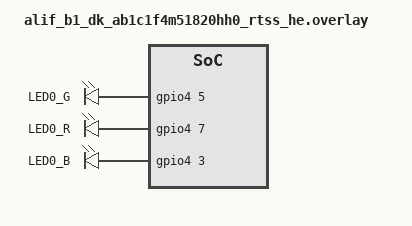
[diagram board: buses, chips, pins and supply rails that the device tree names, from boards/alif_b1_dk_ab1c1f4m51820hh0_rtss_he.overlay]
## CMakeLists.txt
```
# Copyright (C) 2024 Alif Semiconductor - All Rights Reserved.
# Use, distribution and modification of this code is permitted under the
# terms stated in the Alif Semiconductor Software License Agreement
#
# You should have received a copy of the Alif Semiconductor Software
# License Agreement with this file. If not, please write to:
# contact@alifsemi.com, or visit: https://alifsemi.com/license

cmake_minimum_required(VERSION 3.20.0)

# Include BLE Power Management snippet by default. Build with
# -DPLAIN_BLINKY=1 to skip this and use the board's normal LED/button GPIOs.
if(NOT PLAIN_BLINKY AND NOT pm-ble IN_LIST SNIPPET)
  set(SNIPPET pm-ble ${SNIPPET} CACHE STRING "" FORCE)
  set(EXTRA_DTC_OVERLAY_FILE ${CMAKE_CURRENT_SOURCE_DIR}/boards/lpgpio.overlay)
  # DK boards have LEDs on gpio4; restore aliases after lpgpio.overlay remaps them
  if(BOARD MATCHES "alif_b1_dk")
    list(APPEND EXTRA_DTC_OVERLAY_FILE
         ${CMAKE_CURRENT_SOURCE_DIR}/boards/alif_b1_dk_leds.overlay)
  endif()
endif()

find_package(Zephyr REQUIRED HINTS $ENV{ZEPHYR_BASE})
project(le_periph_blinky)

target_sources(app PRIVATE
	src/main.c
)

target_sources_ifdef(CONFIG_CERT_BOOT_INFO app PRIVATE src/cert_boot.c)
```

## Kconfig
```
source "Kconfig.zephyr"

config CERT_BOOT_INFO
	bool "Print certification info at boot"
	help
	  Print board certification IDs during boot using printk.

if CERT_BOOT_INFO

config CERT_MANUFACTURER_NAME
	string "Manufacturer name"
	default ""
	
config CERT_ORIGIN_NAME
	string "Origin name"
	default ""
	
config CERT_BRAND_NAME
	string "Brand name"
	default ""

config CERT_MODEL_NAME
	string "Model name"
	default ""

config CERT_FCC_ID
	string "FCC certification ID"
	default ""

config CERT_ISED_ID
	string "ISED certification ID"
	default ""

config CERT_NCC_ID
	string "NCC certification ID"
	default ""

config CERT_MIC_ID
	string "MIC certification ID"
	default ""
	
config CERT_KC_ID
	string "KC certification ID"
	default ""

endif # CERT_BOOT_INFO
```

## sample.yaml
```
sample:
  name: LE Periph Blinky
tests:
  sample.bt_custom.le_periph_blinky:
    build_only: true
    tags:
      - bluetooth
      - bt_custom
```

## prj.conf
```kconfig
CONFIG_BT=y
CONFIG_BT_CUSTOM=y
CONFIG_LOG=y
CONFIG_ASSERT=y
CONFIG_GPIO=y

# Bluetooth Low Energy device name
CONFIG_BLE_DEVICE_NAME="ALIF_BLK"
```

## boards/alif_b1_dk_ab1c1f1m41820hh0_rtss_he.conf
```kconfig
CONFIG_CERT_BOOT_INFO=y
CONFIG_CERT_BRAND_NAME="Balletto DevKit"
CONFIG_CERT_MODEL_NAME="DK-B1"
CONFIG_CERT_FCC_ID="2A58G-DKB1"
CONFIG_CERT_ISED_ID="35789-DKB1"
CONFIG_CERT_NCC_ID="CCAM26LP1230T0"
CONFIG_CERT_MIC_ID="R 201-260499"
CONFIG_PM_DEVICE_LOG_LEVEL_OFF=y
```

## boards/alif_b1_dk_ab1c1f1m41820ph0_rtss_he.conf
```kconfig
CONFIG_CERT_BOOT_INFO=y
CONFIG_CERT_BRAND_NAME="Balletto DevKit"
CONFIG_CERT_MODEL_NAME="DK-B1"
CONFIG_CERT_FCC_ID="2A58G-DKB1"
CONFIG_CERT_ISED_ID="35789-DKB1"
CONFIG_PM_DEVICE_LOG_LEVEL_OFF=y
```

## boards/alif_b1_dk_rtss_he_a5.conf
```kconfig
CONFIG_PM=y
CONFIG_PM_DEVICE=y
CONFIG_COUNTER=y
CONFIG_COUNTER_RTC_SNPS_DW=y
CONFIG_COUNTER_SNPS_DW=n
CONFIG_DMA_LOG_LEVEL_ERR=y
CONFIG_LOG=n
CONFIG_SLEEP_ENABLED=y

CONFIG_CORTEX_M_SYSTICK_IDLE_TIMER=y

CONFIG_SYS_CLOCK_TICKS_PER_SEC=1000
CONFIG_CONSOLE=n
CONFIG_STDOUT_CONSOLE=n
CONFIG_POWEROFF=y
CONFIG_BOOT_BANNER=n

CONFIG_ALIF_EXT_WAKEUP_TIME=3000
CONFIG_ALIF_OSC_WAKEUP_TIME=3000
CONFIG_ALIF_RM_WAKEUP_TIME=625
CONFIG_ALIF_EXT_WARMBOOT_WAKEUP_TIME=3000
CONFIG_SE_SERVICE_INIT_PRIORITY=1
CONFIG_KERNEL_INIT_PRIORITY_DEFAULT=0
CONFIG_GPIO_INIT_PRIORITY=40

CONFIG_ALIF_MAX_SLEEP_CLOCK_DRIFT=252
CONFIG_ALIF_MAX_ACTIVE_CLOCK_DRIFT=252
```

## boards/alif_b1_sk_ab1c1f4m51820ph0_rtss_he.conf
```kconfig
CONFIG_CERT_BOOT_INFO=y
CONFIG_CERT_MANUFACTURER_NAME="Alif Semiconductor,Inc."
CONFIG_CERT_ORIGIN_NAME="Malaysia"
CONFIG_CERT_BRAND_NAME="Balletto StartKit"
CONFIG_CERT_MODEL_NAME="SK-B1"
CONFIG_CERT_FCC_ID="2A58G-SKB1"
CONFIG_CERT_ISED_ID="35789-SKB1"
CONFIG_CERT_NCC_ID="xxxxxxxx"
CONFIG_CERT_MIC_ID="211-260904"
CONFIG_CERT_KC_ID="R-R-ndu-xxxxxxxxx"
CONFIG_PM_DEVICE_LOG_LEVEL_OFF=y
```

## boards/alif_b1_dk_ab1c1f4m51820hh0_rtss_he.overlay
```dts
/* Copyright (C) 2024 Alif Semiconductor - All Rights Reserved.
 * Use, distribution and modification of this code is permitted under the
 * terms stated in the Alif Semiconductor Software License Agreement
 *
 * You should have received a copy of the Alif Semiconductor Software
 * License Agreement with this file. If not, please write to:
 * contact@alifsemi.com, or visit: https://alifsemi.com/license
 */



&{/} {
	aliases {
		led0 = &aled0;
		led1 = &aled1;
		led2 = &aled2;
		sw0 = &button0;
	};
	leds {
		compatible = "gpio-leds";
		aled0: led_0 {
			gpios = <&gpio4 5 0>;
			label = "LED0_G";
		};

		aled1: led_1 {
			gpios = <&gpio4 7 0>;
			label = "LED0_R";
		};

		aled2: led_2 {
			gpios = <&gpio4 3 0>;
			label = "LED0_B";
		};
	};


};

/* for "buttons" node gpio5_7, enable software pull-up */
&pinctrl_gpio5 {
	group0 {
		pinmux = < PIN_P5_0__GPIO >,
			 < PIN_P5_1__GPIO >,
			 < PIN_P5_2__GPIO >,
			 < PIN_P5_3__GPIO >,
			 < PIN_P5_4__GPIO >,
			 < PIN_P5_5__GPIO >,
			 < PIN_P5_6__GPIO >,
			 < PIN_P5_7__GPIO >;
		read-enable = < 0x1 >;
	};

	group1 {
		pinmux = < PIN_P5_7__GPIO >;
		driver-state-control = <1>;
	};
};
```

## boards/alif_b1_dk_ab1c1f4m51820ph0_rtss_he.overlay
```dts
/* Copyright (C) 2024 Alif Semiconductor - All Rights Reserved.
 * Use, distribution and modification of this code is permitted under the
 * terms stated in the Alif Semiconductor Software License Agreement
 *
 * You should have received a copy of the Alif Semiconductor Software
 * License Agreement with this file. If not, please write to:
 * contact@alifsemi.com, or visit: https://alifsemi.com/license
 */



&{/} {
	aliases {
		led0 = &aled0;
		led1 = &aled1;
		led2 = &aled2;
		sw0 = &button0;
	};
	leds {
		compatible = "gpio-leds";
		aled0: led_0 {
			gpios = <&gpio4 5 0>;
			label = "LED0_G";
		};

		aled1: led_1 {
			gpios = <&gpio4 7 0>;
			label = "LED0_R";
		};

		aled2: led_2 {
			gpios = <&gpio4 3 0>;
			label = "LED0_B";
		};
	};
};

/* for "buttons" node gpio5_7, enable software pull-up */
&pinctrl_gpio5 {
	group0 {
		pinmux = < PIN_P5_0__GPIO >,
			 < PIN_P5_1__GPIO >,
			 < PIN_P5_2__GPIO >,
			 < PIN_P5_3__GPIO >,
			 < PIN_P5_4__GPIO >,
			 < PIN_P5_5__GPIO >,
			 < PIN_P5_6__GPIO >,
			 < PIN_P5_7__GPIO >;
		read-enable = < 0x1 >;
	};

	group1 {
		pinmux = < PIN_P5_7__GPIO >;
		driver-state-control = <1>;
	};
};
```

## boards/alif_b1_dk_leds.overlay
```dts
/* Restore LED aliases to gpio4 after lpgpio.overlay remaps them. */
/ {
	aliases {
		led0 = &aled0;
		led2 = &aled2;
	};
};
```

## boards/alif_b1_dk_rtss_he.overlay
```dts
/* Copyright (C) 2024 Alif Semiconductor - All Rights Reserved.
 * Use, distribution and modification of this code is permitted under the
 * terms stated in the Alif Semiconductor Software License Agreement
 *
 * You should have received a copy of the Alif Semiconductor Software
 * License Agreement with this file. If not, please write to:
 * contact@alifsemi.com, or visit: https://alifsemi.com/license
 */



&{/} {
	aliases {
		led0 = &aled0;
		led1 = &aled1;
		led2 = &aled2;
		pwm-led0 = &pwm_ut2;
		sw0 = &button0;
	};
	leds {
		compatible = "gpio-leds";
		aled0: led_0 {
			gpios = <&gpio4 5 0>;
			label = "LED0_G";
		};

		aled1: led_1 {
			gpios = <&gpio4 7 0>;
			label = "LED0_R";
		};

		aled2: led_2 {
			gpios = <&gpio4 3 0>;
			label = "LED0_B";
		};
	};
};

/* for "buttons" node gpio5_7, enable software pull-up */
&pinctrl_gpio5 {
	group0 {
		pinmux = < PIN_P5_0__GPIO >,
			 < PIN_P5_1__GPIO >,
			 < PIN_P5_2__GPIO >,
			 < PIN_P5_3__GPIO >,
			 < PIN_P5_4__GPIO >,
			 < PIN_P5_5__GPIO >,
			 < PIN_P5_6__GPIO >,
			 < PIN_P5_7__GPIO >;
		read_enable = < 0x1 >;
	};

	group1 {
		pinmux = < PIN_P5_7__GPIO >;
		driver_state_control = <1>;
	};
};
```

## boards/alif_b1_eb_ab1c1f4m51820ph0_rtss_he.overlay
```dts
/* Copyright (C) 2024 Alif Semiconductor - All Rights Reserved.
 * Use, distribution and modification of this code is permitted under the
 * terms stated in the Alif Semiconductor Software License Agreement
 *
 * You should have received a copy of the Alif Semiconductor Software
 * License Agreement with this file. If not, please write to:
 * contact@alifsemi.com, or visit: https://alifsemi.com/license
 */
#include "alif_b1_pm.dtsi"
```

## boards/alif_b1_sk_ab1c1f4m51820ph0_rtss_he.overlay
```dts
/* Copyright (C) 2025 Alif Semiconductor - All Rights Reserved.
 * Use, distribution and modification of this code is permitted under the
 * terms stated in the Alif Semiconductor Software License Agreement
 *
 * You should have received a copy of the Alif Semiconductor Software
 * License Agreement with this file. If not, please write to:
 * contact@alifsemi.com, or visit: https://alifsemi.com/license
 */

&{/} {
	aliases {
		led0 = &aled0;
		led2 = &aled2;
	};

	leds {
		compatible = "gpio-leds";
		aled0: led_0 {
			gpios = <&gpio4 5 0>;
			label = "LED0_G";
		};

		aled2: led_2 {
			gpios = <&gpio4 3 0>;
			label = "LED0_B";
		};
	};
};

/* SW2 (User Switch / PB_SW1) is wired to P15_0 (LPGPIO pin 0). Pull-up required. */
&pinctrl_lpgpio {
	group0 {
		pinmux = <PIN_P15_0__LPGPIO>;
		driver-state-control = <1>;
	};
};

&lpgpio {
	pinctrl-0 = <&pinctrl_lpgpio>;
	pinctrl-names = "default";
	status = "okay";
};

&{/} {
	/delete-node/ buttons;

	buttons {
		compatible = "gpio-keys";
		button0: button_0 {
			gpios = <&lpgpio 0 GPIO_ACTIVE_LOW>;
		};
	};
};
```

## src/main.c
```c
/* Copyright (C) 2024 Alif Semiconductor - All Rights Reserved.
 * Use, distribution and modification of this code is permitted under the
 * terms stated in the Alif Semiconductor Software License Agreement
 *
 * You should have received a copy of the Alif Semiconductor Software
 * License Agreement with this file. If not, please write to:
 * contact@alifsemi.com, or visit: https://alifsemi.com/license
 */

/* This application demonstrates the communication and control of a device
 * allowing to remotely control an LED, and to transmit the state of a button.
 */

#include <zephyr/kernel.h>
#include <zephyr/logging/log.h>
#include "alif_ble.h"
#include "gapm.h"
#include "gap_le.h"
#include "gapc_le.h"
#include "gapc_sec.h"
#include "gapm_le.h"
#include "gapm_le_adv.h"
#include "co_buf.h"
#include "prf.h"
#include "gatt_db.h"
#include "gatt_srv.h"
#include "ke_mem.h"
#include "address_verification.h"
#include <zephyr/drivers/gpio.h>
#include <alif/bluetooth/bt_adv_data.h>
#include <alif/bluetooth/bt_scan_rsp.h>
#include "gapm_api.h"
#include "ble_gpio.h"

#define LED0_NODE DT_ALIAS(led0)
#define LED2_NODE DT_ALIAS(led2)

static uint8_t adv_type; /* Advertising type, set by address_verification() */

static const struct gpio_dt_spec led0 = GPIO_DT_SPEC_GET(LED0_NODE, gpios);
static const struct gpio_dt_spec led2 = GPIO_DT_SPEC_GET(LED2_NODE, gpios);

/* Service Definitions */
#define ATT_128_PRIMARY_SERVICE  ATT_16_TO_128_ARRAY(GATT_DECL_PRIMARY_SERVICE)
#define ATT_128_INCLUDED_SERVICE ATT_16_TO_128_ARRAY(GATT_DECL_INCLUDE)
#define ATT_128_CHARACTERISTIC   ATT_16_TO_128_ARRAY(GATT_DECL_CHARACTERISTIC)
#define ATT_128_CLIENT_CHAR_CFG  ATT_16_TO_128_ARRAY(GATT_DESC_CLIENT_CHAR_CFG)
/* LED-BUTTON SERVICE and attribute 128 bit UUIDs */
/* Alif Blinky service UUID */
#define LBS_UUID_128_SVC                                                                           \
	{0x5b, 0xda, 0x7d, 0x73, 0x0b, 0x5f, 0x52, 0x91,                                           \
	 0x58, 0x43, 0xc7, 0x8f, 0x31, 0xac, 0xbc, 0xb9}
/* Button */
#define LBS_UUID_128_CHAR0                                                                         \
	{0x5c, 0xda, 0x7d, 0x73, 0x0b, 0x5f, 0x52, 0x91,                                           \
	 0x58, 0x43, 0xc7, 0x8f, 0x31, 0xac, 0xbc, 0xb9}
/* LED */
#define LBS_UUID_128_CHAR1                                                                         \
	{0x5d, 0xda, 0x7d, 0x73, 0x0b, 0x5f, 0x52, 0x91,                                           \
	 0x58, 0x43, 0xc7, 0x8f, 0x31, 0xac, 0xbc, 0xb9}
#define LBS_METAINFO_CHAR0_NTF_SEND 0x1234
#define ATT_16_TO_128_ARRAY(uuid)                                                                  \
	{(uuid) & 0xFF, (uuid >> 8) & 0xFF, 0, 0, 0, 0, 0, 0, 0, 0, 0, 0, 0, 0, 0, 0}

/* Service UUID to pass into gatt_db_svc_add */
static const uint8_t lbs_service_uuid[] = LBS_UUID_128_SVC;
static const uint16_t lbs_service_uuid16[8] = {0xda5b, 0x737d, 0x5f0b, 0x9152,
					       0x4358, 0x8fc7, 0xac31, 0xb9bc};

/* List of attributes in the service */
enum service_att_list {
	LBS_IDX_SERVICE = 0,
	/* First characteristic is readable + supports notifications */
	LBS_IDX_CHAR0_CHAR,
	LBS_IDX_CHAR0_VAL,
	LBS_IDX_CHAR0_NTF_CFG,
	/* Second characteristic is writable */
	LBS_IDX_CHAR1_CHAR,
	LBS_IDX_CHAR1_VAL,
	/* Number of items*/
	LBS_IDX_NB,
};

const gapc_le_con_param_nego_with_ce_len_t app_preferred_connection_param = {
	.ce_len_min = 5,
	.ce_len_max = 10,
	.hdr.interval_min = 400,
	.hdr.interval_max = 400,
	.hdr.latency = 0,
	.hdr.sup_to = 800
};

static uint8_t conn_status = BT_CONN_STATE_DISCONNECTED;
static uint8_t adv_actv_idx;
static struct service_env env;

/* Load name from configuration file */
#define DEVICE_NAME      CONFIG_BLE_DEVICE_NAME
#define SAMPLE_ADDR_TYPE ALIF_STATIC_RAND_ADDR /* Static random address */


/* GATT database for the service */
static const gatt_att_desc_t lbs_att_db[LBS_IDX_NB] = {
	[LBS_IDX_SERVICE] = {ATT_128_PRIMARY_SERVICE, ATT_UUID(16) | PROP(RD), 0},

	[LBS_IDX_CHAR0_CHAR] = {ATT_128_CHARACTERISTIC, ATT_UUID(16) | PROP(RD), 0},
	[LBS_IDX_CHAR0_VAL] = {LBS_UUID_128_CHAR0, ATT_UUID(128) | PROP(RD) | PROP(N),
			       OPT(NO_OFFSET)},
	[LBS_IDX_CHAR0_NTF_CFG] = {ATT_128_CLIENT_CHAR_CFG, ATT_UUID(16) | PROP(RD) | PROP(WR), 0},

	[LBS_IDX_CHAR1_CHAR] = {ATT_128_CHARACTERISTIC, ATT_UUID(16) | PROP(RD), 0},
	[LBS_IDX_CHAR1_VAL] = {LBS_UUID_128_CHAR1, ATT_UUID(128) | PROP(WR),
			       OPT(NO_OFFSET) | sizeof(uint16_t)},
};

/* Bluetooth stack configuration*/
static gapm_config_t gapm_cfg = {
	.role = GAP_ROLE_LE_PERIPHERAL,
	.pairing_mode = GAPM_PAIRING_DISABLE,
	.privacy_cfg = 0,
	.renew_dur = 1500,
	.private_identity.addr = {0xCF, 0xFE, 0xFB, 0xDE, 0x11, 0x07},
	.irk.key = {0, 0, 0, 0, 0, 0, 0, 0, 0, 0, 0, 0, 0, 0, 0, 0},
	.gap_start_hdl = 0,
	.gatt_start_hdl = 0,
	.att_cfg = 0,
	.sugg_max_tx_octets = GAP_LE_MIN_OCTETS,
	.sugg_max_tx_time = GAP_LE_MIN_TIME,
	.tx_pref_phy = GAP_PHY_ANY,
	.rx_pref_phy = GAP_PHY_ANY,
	.tx_path_comp = 0,
	.rx_path_comp = 0,
	.class_of_device = 0,  /* BT Classic only */
	.dflt_link_policy = 0, /* BT Classic only */
};

/* Environment for the service */
struct service_env {
	uint16_t start_hdl;
	uint8_t user_lid;
	uint8_t char0_val;
	uint8_t char1_val;
	bool ntf_ongoing;
	uint16_t ntf_cfg;
};

/* Macros */
LOG_MODULE_REGISTER(main, LOG_LEVEL_DBG);

/* function headers */
static uint16_t service_init(void);

K_SEM_DEFINE(ntf_sem, 0, 1);

void led_worker_handler(struct k_work *work);

static K_WORK_DELAYABLE_DEFINE(led_work, led_worker_handler);

static bool led0_target_state;

static void led0_worker_handler(struct k_work *work)
{
	ble_gpio_led_set(&led0, led0_target_state);
}

static K_WORK_DEFINE(led0_work, led0_worker_handler);

/* Functions */

static void update_led_state(void)
{
	k_work_reschedule(&led_work, K_MSEC(1));
}

static int set_advertising_data(uint8_t actv_idx)
{
	int ret;

	ret = bt_adv_data_set_tlv(GAP_AD_TYPE_COMPLETE_LIST_128_BIT_UUID, lbs_service_uuid16,
				  sizeof(lbs_service_uuid16));
	if (ret) {
		LOG_ERR("AD profile set fail %d", ret);
		return ATT_ERR_INSUFF_RESOURCE;
	}

	ret = bt_adv_data_set_name_auto(DEVICE_NAME, strlen(DEVICE_NAME));

	if (ret) {
		LOG_ERR("AD device name data fail %d", ret);
		return ATT_ERR_INSUFF_RESOURCE;
	}

	return bt_gapm_advertiment_data_set(actv_idx);
}

static uint16_t create_advertising(void)
{
	gapm_le_adv_create_param_t adv_create_params = {
		.prop = GAPM_ADV_PROP_UNDIR_CONN_MASK,
		.disc_mode = GAPM_ADV_MODE_GEN_DISC,
		.tx_pwr = 0,
		.filter_pol = GAPM_ADV_ALLOW_SCAN_ANY_CON_ANY,
		.prim_cfg = {
				.adv_intv_min = 160,
				.adv_intv_max = 800,
				.ch_map = ADV_ALL_CHNLS_EN,
				.phy = GAPM_PHY_TYPE_LE_1M,
			},
	};

	return bt_gapm_le_create_advertisement_service(adv_type, &adv_create_params, NULL,
						       &adv_actv_idx);
}

/* Add service to the stack */
static void server_configure(void)
{
	uint16_t err;

	err = service_init();

	if (err) {
		LOG_ERR("Error %u adding profile", err);
	}
}

/* Service callbacks */
static void on_att_read_get(uint8_t conidx, uint8_t user_lid, uint16_t token, uint16_t hdl,
			    uint16_t offset, uint16_t max_length)
{
	co_buf_t *p_buf = NULL;
	uint16_t status = GAP_ERR_NO_ERROR;
	uint16_t att_val_len = 0;
	void *att_val = NULL;

	do {
		if (offset != 0) {
			/* Long read not supported for any characteristics within this service */
			status = ATT_ERR_INVALID_OFFSET;
			break;
		}

		uint8_t att_idx = hdl - env.start_hdl;

		switch (att_idx) {
		case LBS_IDX_CHAR0_VAL:
			att_val_len = sizeof(env.char0_val);
			att_val = &env.char0_val;
			LOG_DBG("read button state");
			break;

		case LBS_IDX_CHAR0_NTF_CFG:
			att_val_len = sizeof(env.ntf_cfg);
			att_val = &env.ntf_cfg;
			break;

		default:
			break;
		}

		if (att_val == NULL) {
			status = ATT_ERR_REQUEST_NOT_SUPPORTED;
			break;
		}

		status = co_buf_alloc(&p_buf, GATT_BUFFER_HEADER_LEN, att_val_len,
				      GATT_BUFFER_TAIL_LEN);
		if (status != CO_BUF_ERR_NO_ERROR) {
			status = ATT_ERR_INSUFF_RESOURCE;
			break;
		}

		memcpy(co_buf_data(p_buf), att_val, att_val_len);
	} while (0);

	/* Send the GATT response */
	gatt_srv_att_read_get_cfm(conidx, user_lid, token, status, att_val_len, p_buf);
	if (p_buf != NULL) {
		co_buf_release(p_buf);
	}
}

static void on_att_val_set(uint8_t conidx, uint8_t user_lid, uint16_t token, uint16_t hdl,
			   uint16_t offset, co_buf_t *p_data)
{
	uint16_t status = GAP_ERR_NO_ERROR;

	do {
		if (offset != 0) {
			/* Long write not supported for any characteristics in this service */
			status = ATT_ERR_INVALID_OFFSET;
			break;
		}

		uint8_t att_idx = hdl - env.start_hdl;

		switch (att_idx) {
		case LBS_IDX_CHAR1_VAL: {
			if (sizeof(env.char1_val) != co_buf_data_len(p_data)) {
				LOG_DBG("Incorrect buffer size");
				status = ATT_ERR_INVALID_ATTRIBUTE_VAL_LEN;
			} else {
				memcpy(&env.char1_val, co_buf_data(p_data), sizeof(env.char1_val));
				LOG_DBG("TOGGLE LED, state %d", env.char1_val);
				led0_target_state = env.char1_val;
				k_work_submit(&led0_work);
			}
			break;
		}

		case LBS_IDX_CHAR0_NTF_CFG: {
			if (sizeof(uint16_t) != co_buf_data_len(p_data)) {
				LOG_DBG("Incorrect buffer size");
				status = ATT_ERR_INVALID_ATTRIBUTE_VAL_LEN;
			} else {
				uint16_t cfg;

				memcpy(&cfg, co_buf_data(p_data), sizeof(uint16_t));
				if (PRF_CLI_START_NTF == cfg || PRF_CLI_STOP_NTFIND == cfg) {
					env.ntf_cfg = cfg;
				} else {
					/* Indications not supported */
					status = ATT_ERR_REQUEST_NOT_SUPPORTED;
				}
			}
			break;
		}

		default:
			status = ATT_ERR_REQUEST_NOT_SUPPORTED;
			break;
		}
	} while (0);

	/* Send the GATT write confirmation */
	gatt_srv_att_val_set_cfm(conidx, user_lid, token, status);
}

static void on_event_sent(uint8_t conidx, uint8_t user_lid, uint16_t metainfo, uint16_t status)
{
	if (metainfo == LBS_METAINFO_CHAR0_NTF_SEND) {
		env.ntf_ongoing = false;
	} else {
		LOG_ERR("Unknown %u meta %u", metainfo, status);
	}
}

static const gatt_srv_cb_t gatt_cbs = {
	.cb_att_event_get = NULL,
	.cb_att_info_get = NULL,
	.cb_att_read_get = on_att_read_get,
	.cb_att_val_set = on_att_val_set,
	.cb_event_sent = on_event_sent,
};

/*
 * Service functions
 */
static uint16_t service_init(void)
{
	uint16_t status;

	/* Register a GATT user */
	status = gatt_user_srv_register(L2CAP_LE_MTU_MIN, 0, &gatt_cbs, &env.user_lid);
	if (status != GAP_ERR_NO_ERROR) {
		return status;
	}

	/* Add the GATT service */
	status = gatt_db_svc_add(env.user_lid, SVC_UUID(128), lbs_service_uuid, LBS_IDX_NB, NULL,
				 lbs_att_db, LBS_IDX_NB, &env.start_hdl);
	if (status != GAP_ERR_NO_ERROR) {
		gatt_user_unregister(env.user_lid);
		return status;
	}

	return GAP_ERR_NO_ERROR;
}

static uint16_t service_notification_send(uint32_t conidx_mask)
{
	co_buf_t *p_buf;
	uint16_t status;
	uint8_t conidx = 0;

	/* Cannot send another notification unless previous one is completed */
	if (env.ntf_ongoing) {
		return PRF_ERR_REQ_DISALLOWED;
	}

	/* Check notification subscription */
	if (env.ntf_cfg != PRF_CLI_START_NTF) {
		return PRF_ERR_NTF_DISABLED;
	}

	/* Get a buffer to put the notification data into */
	status = co_buf_alloc(&p_buf, GATT_BUFFER_HEADER_LEN, sizeof(env.char0_val),
			      GATT_BUFFER_TAIL_LEN);
	if (status != CO_BUF_ERR_NO_ERROR) {
		return GAP_ERR_INSUFF_RESOURCES;
	}

	memcpy(co_buf_data(p_buf), &env.char0_val, sizeof(env.char0_val));

	status = gatt_srv_event_send(conidx, env.user_lid, LBS_METAINFO_CHAR0_NTF_SEND, GATT_NOTIFY,
				     env.start_hdl + LBS_IDX_CHAR0_VAL, p_buf);

	co_buf_release(p_buf);

	if (status == GAP_ERR_NO_ERROR) {
		env.ntf_ongoing = true;
	}

	return status;
}

void button_update_handler(uint32_t button_state, uint32_t has_changed)
{
	if (has_changed & 1) {
		env.char0_val = (button_state & 1);
		if ((conn_status == BT_CONN_STATE_CONNECTED) &&
		    (env.ntf_cfg == PRF_CLI_START_NTF)) {
			k_sem_give(&ntf_sem);
		}
	}
}

void led_worker_handler(struct k_work *work)
{
	int res_schedule_time = 0;

	if (conn_status == BT_CONN_STATE_CONNECTED) {
		ble_gpio_led_set(&led2, false);
	} else {
		ble_gpio_led_toggle(&led2);
		res_schedule_time = 500;
	}

	if (res_schedule_time) {
		k_work_reschedule(&led_work, K_MSEC(res_schedule_time));
	}
}

static void on_gapc_proc_cmp_cb(uint8_t conidx, uint32_t metainfo, uint16_t status)
{
	LOG_INF("%s conn:%d status:%d\n", __func__, conidx, status);
}

static void status_connected_update(uint8_t conidx, uint16_t status)
{
	conn_status = BT_CONN_STATE_CONNECTED;
	gapc_le_update_params(conidx, 0, &app_preferred_connection_param,
				    on_gapc_proc_cmp_cb);
}

void app_connection_status_update(enum gapm_connection_event con_event, uint8_t con_idx,
				  uint16_t status)
{
	switch (con_event) {
	case GAPM_API_SEC_CONNECTED_KNOWN_DEVICE:
		status_connected_update(con_idx, status);
		LOG_INF("Connection index %u connected to known device", con_idx);
		break;
	case GAPM_API_DEV_CONNECTED:
		status_connected_update(con_idx, status);
		LOG_INF("Connection index %u connected to new device", con_idx);
		break;
	case GAPM_API_DEV_DISCONNECTED:
		LOG_INF("Connection index %u disconnected for reason %u", con_idx, status);
		conn_status = BT_CONN_STATE_DISCONNECTED;
		ble_gpio_led_set(&led0, false);
		break;
	case GAPM_API_PAIRING_FAIL:
		LOG_INF("Connection pairing index %u fail for reason %u", con_idx, status);
		break;
	}

	update_led_state();
}

static gapm_user_cb_t gapm_user_cb = {
	.connection_status_update = app_connection_status_update,
};

int main(void)
{
	uint16_t err;

	err = ble_gpio_buttons_init(button_update_handler);
	if (err) {
		LOG_ERR("Button Init fail %u", err);
		return -1;
	}

	err = ble_gpio_led_init();

	if (err) {
		LOG_ERR("Led Init fail %u", err);
		return -1;
	}

	/* Start up bluetooth host stack */
	alif_ble_enable(NULL);

	if (address_verification(SAMPLE_ADDR_TYPE, &adv_type, &gapm_cfg)) {
		LOG_ERR("Address verification failed");
		return -EADV;
	}

	/* Configure Bluetooth Stack */
	LOG_INF("Init gapm service");
	err = bt_gapm_init(&gapm_cfg, &gapm_user_cb, DEVICE_NAME, strlen(DEVICE_NAME));
	if (err) {
		LOG_ERR("gapm_configure error %u", err);
		return -1;
	}

	server_configure();

	err = create_advertising();
	if (err) {
		LOG_ERR("Advertisement create fail %u", err);
		return -1;
	}

	err = set_advertising_data(adv_actv_idx);
	if (err) {
		LOG_ERR("Advertisement data set fail %u", err);
		return -1;
	}

	err = bt_gapm_scan_response_set(adv_actv_idx);
	if (err) {
		LOG_ERR("Scan response set fail %u", err);
		return -1;
	}

	err = bt_gapm_advertisement_start(adv_actv_idx);
	if (err) {
		LOG_ERR("Advertisement start fail %u", err);
		return -1;
	}

	print_device_identity();
	/* Set a Led init state */
	k_work_reschedule(&led_work, K_MSEC(1));

	while (1) {
		k_sem_take(&ntf_sem, K_FOREVER);

		if ((conn_status == BT_CONN_STATE_CONNECTED) &&
		    (env.ntf_cfg == PRF_CLI_START_NTF)) {

			while (env.ntf_ongoing) {
				/* Wait until last one is finished */
				k_sleep(K_MSEC(50));
			}
			err = service_notification_send(UINT32_MAX);
			if (err) {
				LOG_ERR("Error %u sending measurement", err);
			}
		}
	}
	return 0;
}
```

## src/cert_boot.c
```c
/* Copyright (C) 2026 Alif Semiconductor - All Rights Reserved.
 * Use, distribution and modification of this code is permitted under the
 * terms stated in the Alif Semiconductor Software License Agreement
 *
 * You should have received a copy of the Alif Semiconductor Software
 * License Agreement with this file. If not, please write to:
 * contact@alifsemi.com, or visit: https://alifsemi.com/license
 */

#include <zephyr/kernel.h>

/* Prints cert IDs early in boot so they appear before application logs. */
static int cert_boot_print(void)
{
	printk("*************************************\n");
	printk("  Manufacturer Name:   " CONFIG_CERT_MANUFACTURER_NAME "\n");
	printk("  Country of origin:   " CONFIG_CERT_ORIGIN_NAME "\n");
	printk("  Brand:               " CONFIG_CERT_BRAND_NAME "\n");
	printk("  Model:               " CONFIG_CERT_MODEL_NAME "\n");
	if (sizeof(CONFIG_CERT_FCC_ID) > 1) {
		printk("  FCC ID:              " CONFIG_CERT_FCC_ID "\n");
	}
	if (sizeof(CONFIG_CERT_ISED_ID) > 1) {
		printk("  IC ID:               " CONFIG_CERT_ISED_ID "\n");
	}
	if (sizeof(CONFIG_CERT_NCC_ID) > 1) {
		printk("  NCC ID:              "     CONFIG_CERT_NCC_ID "\n");
	}
	if (sizeof(CONFIG_CERT_MIC_ID) > 1) {
		printk("  MIC ID:              "     CONFIG_CERT_MIC_ID "\n");
	}
	if (sizeof(CONFIG_CERT_KC_ID) > 1) {
		printk("  KC ID:               "     CONFIG_CERT_KC_ID "\n");
	}
	printk("*************************************\n");
	return 0;
}

SYS_INIT(cert_boot_print, PRE_KERNEL_2, 0);
```
